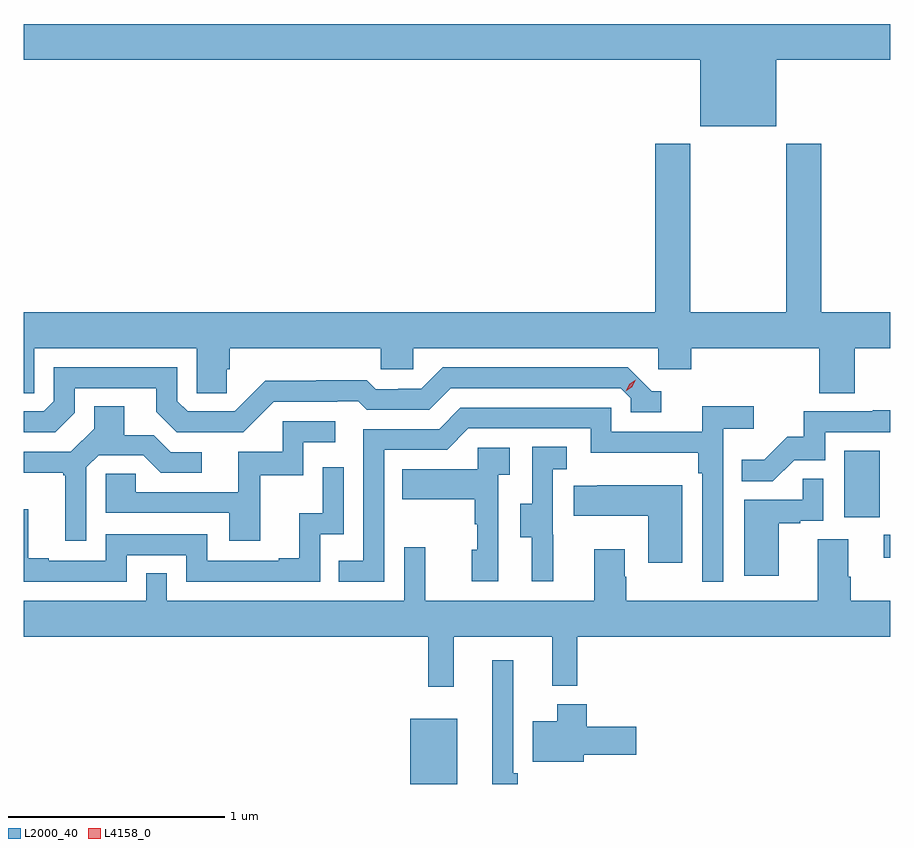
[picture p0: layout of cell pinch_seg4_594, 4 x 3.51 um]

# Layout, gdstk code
import gdstk
lib = gdstk.Library(unit=1e-6, precision=1e-09)
def R(c, l, rs):  # rectangles x0, y0, x1, y1
    for r in rs: c.add(gdstk.rectangle(r[:2], r[2:], *l))
def P(c, l, *ps):  # polygons
    for p in ps: c.add(gdstk.Polygon(p, *l))
L2000_40 = (2000, 40)
L4158_0 = (4158, 0)

pinch_seg4_594 = lib.new_cell('pinch_seg4_594')
R(pinch_seg4_594, L2000_40, [(1049.138,776.159,1049.353,776.461), (1051.323,777.204,1051.353,777.309), (1051.142,777.39,1051.306,777.697)])
P(pinch_seg4_594, L2000_40, [(1050.826,779.504),(1051.353,779.504),(1051.353,779.668),(1047.353,779.668),(1047.353,779.504),(1050.476,779.504),(1050.476,779.195),(1050.826,779.195)],
  [(1047.402,778.172),(1048.152,778.172),(1048.152,777.964),(1048.289,777.964),(1048.289,778.074),(1048.304,778.074),(1048.304,778.172),(1049.001,778.172),(1049.001,778.074),(1049.151,778.074),(1049.151,778.172),(1050.282,778.172),(1050.282,778.074),(1050.434,778.074),(1050.434,778.172),(1051.025,778.172),(1051.025,777.964),(1051.19,777.964),(1051.19,778.172),(1051.353,778.172),(1051.353,778.336),(1051.034,778.336),(1051.034,779.116),(1050.874,779.116),(1050.874,778.336),(1050.429,778.336),(1050.429,779.116),(1050.269,779.116),(1050.269,778.336),(1047.353,778.336),(1047.353,777.964),(1047.402,777.964)],
  [(1047.588,777.873),(1047.588,777.987),(1047.965,777.987),(1047.965,777.877),(1048.059,777.783),(1048.365,777.783),(1048.506,777.924),(1048.799,777.924),(1048.799,777.927),(1048.898,777.927),(1048.937,777.888),(1049.226,777.888),(1049.325,777.987),(1050.108,777.987),(1050.156,777.939),(1050.156,777.876),(1050.295,777.876),(1050.295,777.972),(1050.252,777.972),(1050.141,778.083),(1049.288,778.083),(1049.189,777.984),(1049.082,777.984),(1049.082,777.981),(1048.979,777.981),(1048.937,778.024),(1048.704,778.024),(1048.704,778.021),(1048.468,778.021),(1048.326,777.879),(1048.11,777.879),(1048.062,777.927),(1048.062,778.083),(1047.492,778.083),(1047.492,777.927),(1047.444,777.879),(1047.353,777.879),(1047.353,777.783),(1047.498,777.783)],
  [(1047.642,777.621),(1047.699,777.678),(1047.905,777.678),(1047.986,777.597),(1048.174,777.597),(1048.174,777.69),(1048.032,777.69),(1047.952,777.77),(1047.817,777.77),(1047.817,777.902),(1047.677,777.902),(1047.677,777.8),(1047.57,777.693),(1047.353,777.693),(1047.353,777.596),(1047.534,777.596),(1047.534,777.585),(1047.545,777.585),(1047.545,777.282),(1047.642,777.282)],
  [(1049.016,777.702),(1049.307,777.702),(1049.406,777.801),(1049.97,777.801),(1049.97,777.689),(1050.466,777.689),(1050.466,777.593),(1050.486,777.593),(1050.486,777.093),(1050.582,777.093),(1050.582,777.8),(1050.724,777.8),(1050.724,777.902),(1050.485,777.902),(1050.485,777.786),(1050.066,777.786),(1050.066,777.897),(1049.369,777.897),(1049.27,777.798),(1048.92,777.798),(1048.92,777.189),(1048.807,777.189),(1048.807,777.093),(1049.016,777.093)],
  [(1050.909,777.654),(1051.053,777.654),(1051.053,777.783),(1051.353,777.783),(1051.353,777.884),(1051.273,777.884),(1051.273,777.879),(1050.955,777.879),(1050.955,777.762),(1050.878,777.762),(1050.771,777.655),(1050.667,777.655),(1050.667,777.556),(1050.811,777.556)],
  [(1048.445,777.585),(1048.644,777.585),(1048.644,777.738),(1048.792,777.738),(1048.792,777.834),(1048.548,777.834),(1048.548,777.693),(1048.343,777.693),(1048.343,777.507),(1047.869,777.507),(1047.869,777.591),(1047.732,777.591),(1047.732,777.411),(1048.301,777.411),(1048.301,777.282),(1048.445,777.282)],
  [(1049.798,777.309),(1049.796,777.309),(1049.796,777.613),(1049.86,777.613),(1049.86,777.716),(1049.7,777.716),(1049.7,777.453),(1049.645,777.453),(1049.645,777.298),(1049.699,777.298),(1049.699,777.096),(1049.798,777.096)],
  [(1049.544,777.587),(1049.596,777.587),(1049.596,777.711),(1049.448,777.711),(1049.448,777.613),(1049.101,777.613),(1049.101,777.473),(1049.436,777.473),(1049.436,777.359),(1049.446,777.359),(1049.446,777.24),(1049.42,777.24),(1049.42,777.096),(1049.544,777.096)],
  [(1047.828,777.216),(1048.104,777.216),(1048.104,777.093),(1048.722,777.093),(1048.722,777.312),(1048.83,777.312),(1048.83,777.622),(1048.734,777.622),(1048.734,777.41),(1048.625,777.41),(1048.625,777.202),(1048.529,777.202),(1048.529,777.189),(1048.2,777.189),(1048.2,777.312),(1047.732,777.312),(1047.732,777.189),(1047.469,777.189),(1047.469,777.202),(1047.373,777.202),(1047.373,777.427),(1047.353,777.427),(1047.353,777.093),(1047.828,777.093)],
  [(1050.838,777.363),(1050.938,777.363),(1050.938,777.375),(1051.044,777.375),(1051.044,777.569),(1050.949,777.569),(1050.949,777.471),(1050.68,777.471),(1050.68,777.12),(1050.838,777.12)],
  [(1050.394,777.538),(1050.001,777.538),(1050.001,777.535),(1049.893,777.535),(1049.893,777.398),(1050.236,777.398),(1050.236,777.18),(1050.394,777.18)],
  [(1049.339,776.84),(1049.792,776.84),(1049.792,776.612),(1049.909,776.612),(1049.909,776.84),(1051.353,776.84),(1051.353,777.004),(1051.172,777.004),(1051.172,777.116),(1051.159,777.116),(1051.159,777.29),(1051.019,777.29),(1051.019,777.004),(1050.135,777.004),(1050.135,777.116),(1050.127,777.116),(1050.127,777.244),(1049.987,777.244),(1049.987,777.004),(1049.207,777.004),(1049.207,777.253),(1049.109,777.253),(1049.109,777.004),(1048.014,777.004),(1048.014,777.131),(1047.918,777.131),(1047.918,777.004),(1047.353,777.004),(1047.353,776.84),(1049.221,776.84),(1049.221,776.607),(1049.339,776.607)],
  [(1049.633,776.209),(1049.613,776.209),(1049.613,776.731),(1049.516,776.731),(1049.516,776.159),(1049.633,776.159)],
  [(1049.938,776.294),(1050.181,776.294),(1050.181,776.424),(1049.951,776.424),(1049.951,776.527),(1049.816,776.527),(1049.816,776.449),(1049.702,776.449),(1049.702,776.261),(1049.938,776.261)])
P(pinch_seg4_594, L4158_0, [(1050.133,777.973),(1050.133,777.973),(1050.148,778.005),(1050.178,778.025),(1050.178,778.025),(1050.178,778.025),(1050.163,777.992),(1050.133,777.973)])

lib.write_gds('pinch_seg4_594.gds')
